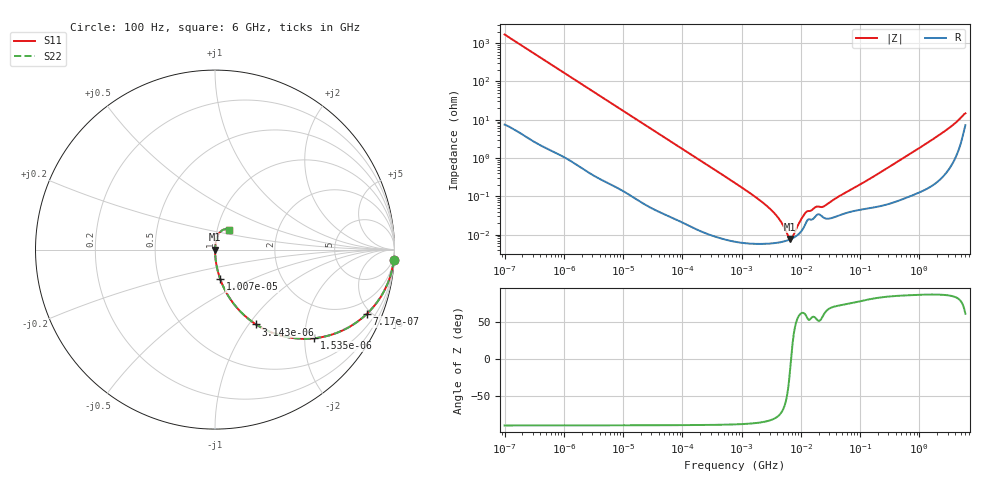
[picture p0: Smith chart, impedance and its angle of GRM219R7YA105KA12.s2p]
!Murata Part Number: GRM219R7YA105KA12
!These Parameters are Measured in Series Mode Connection
!Data Generated on Mar 30, 2021
!  o--ll--o
!Port1  Port2
!  o------o
!Operation Temp=25[degC], DC Bias Voltage=0[V]
!Freq. Start=100[Hz] Stop=6[GHz] 401[Steps]
# Hz S RI R 50
!Freq.(Hz) S11(Real) S11(Imag) S21(Real) S21(Imag) S12(Real) S12(Imag) S22(Real) S22(Imag)
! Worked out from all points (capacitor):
!   401 points, 100 Hz to 6 GHz, reference 50 ohm
!   read as one part in series: C = 943 nF near 109 Hz
!   lowest |Z| = 7.74 mohm at 6.644 MHz (marker M1)
!   series resonance near 6.855 MHz, so ESL is about 570 pH
!   S11 on the Smith chart (normalised r, x): 100 Hz: 1, -34; 717 Hz: 1.03, -4.73; 1.535 kHz: 1.01, -2.22; 3.143 kHz: 1.01, -1.09; 10.07 kHz: 1.00, -0.34; 6 GHz: 1.14, +0.26
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100  0.9962 -0.0591  0.00377 0.0591  0.00377 0.0591  0.9962 -0.0591
335  0.9614 -0.1902  0.0386 0.1902  0.0386 0.1902  0.9614 -0.1902
717  0.8467 -0.3573  0.1533 0.3573  0.1533 0.3573  0.8467 -0.3573
1535  0.5508 -0.4942  0.4492 0.4942  0.4492 0.4942  0.5508 -0.4942
2008  0.4188 -0.4901  0.5812 0.4901  0.5812 0.4901  0.4188 -0.4901
3143  0.229 -0.417  0.771 0.417  0.771 0.417  0.229 -0.417
5378  0.0934 -0.2874  0.9066 0.2874  0.9066 0.2874  0.0934 -0.2874
10066  0.0294 -0.1651  0.9706 0.1651  0.9706 0.1651  0.0294 -0.1651
40335  0.00222 -0.0427  0.9978 0.0427  0.9978 0.0427  0.00222 -0.0427
774597  7.04e-05 -0.00224  0.9999 0.00224  0.9999 0.00224  7.04e-05 -0.00224
2967816  5.88e-05 -0.000483  0.9999 0.000483  0.9999 0.000483  5.88e-05 -0.000483
4246196  6.25e-05 -0.000257  0.9999 0.000257  0.9999 0.000257  6.25e-05 -0.000257
5809218  7.01e-05 -8.67e-05  0.9999 8.67e-05  0.9999 8.67e-05  7.01e-05 -8.67e-05
6644369  7.57e-05 -1.63e-05  0.9999 1.63e-05  0.9999 1.63e-05  7.57e-05 -1.63e-05
7947587  8.72e-05 7.91e-05  0.9999 -7.91e-05  0.9999 -7.91e-05  8.72e-05 7.91e-05
1.189169e7  0.000186 0.000317  0.9998 -0.000317  0.9998 -0.000317  0.000186 0.000317
1.555665e7  0.000249 0.00037  0.9998 -0.00037  0.9998 -0.00037  0.000249 0.00037
1.86079e7  0.000327 0.000432  0.9997 -0.000432  0.9997 -0.000432  0.000327 0.000432
2.545746e7  0.000269 0.000501  0.9997 -0.000501  0.9997 -0.000501  0.000269 0.000501
3.124326e8  0.000675 0.00588  0.9993 -0.00588  0.9993 -0.00588  0.000675 0.00588
2.240541e9  0.00444 0.0411  0.9956 -0.0411  0.9956 -0.0411  0.00444 0.0411
6e9  0.0804 0.1096  0.9196 -0.1096  0.9196 -0.1096  0.0804 0.1096
